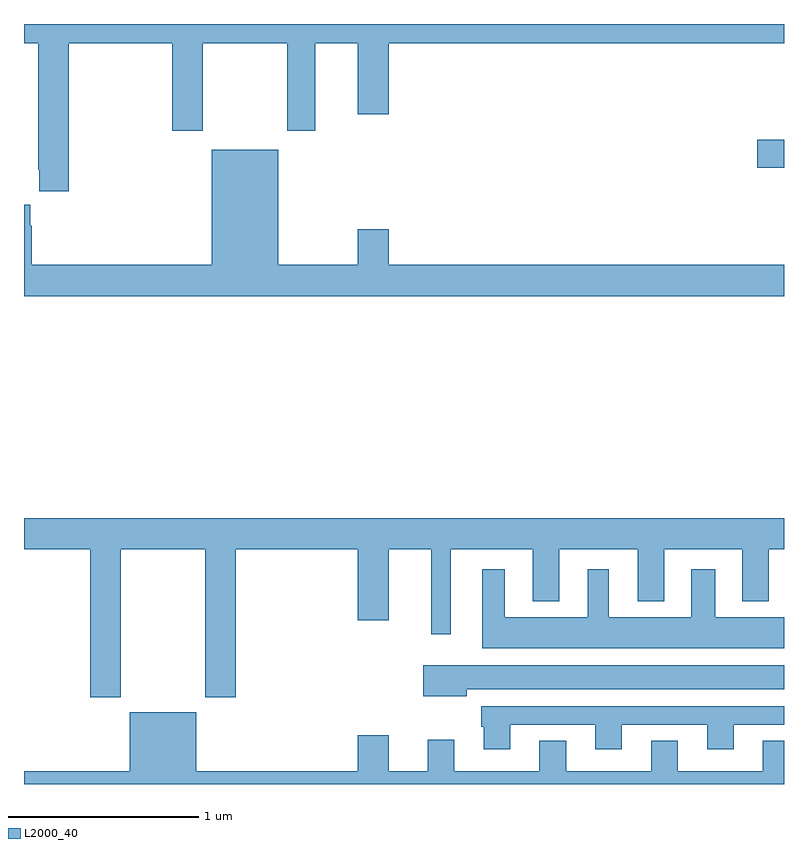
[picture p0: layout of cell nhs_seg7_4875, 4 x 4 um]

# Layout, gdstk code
import gdstk
lib = gdstk.Library(unit=1e-6, precision=1e-09)
def R(c, l, rs):  # rectangles x0, y0, x1, y1
    for r in rs: c.add(gdstk.rectangle(r[:2], r[2:], *l))
def P(c, l, *ps):  # polygons
    for p in ps: c.add(gdstk.Polygon(p, *l))
L2000_40 = (2000, 40)

nhs_seg7_4875 = lib.new_cell('nhs_seg7_4875')
R(nhs_seg7_4875, L2000_40, [(418.86,1049.243,419,1049.39)])
P(nhs_seg7_4875, L2000_40, [(415.235,1049.9),(415.781,1049.9),(415.781,1049.439),(415.941,1049.439),(415.941,1049.9),(416.386,1049.9),(416.386,1049.439),(416.533,1049.439),(416.533,1049.9),(416.756,1049.9),(416.756,1049.526),(416.92,1049.526),(416.92,1049.9),(419,1049.9),(419,1050),(415,1050),(415,1049.9),(415.075,1049.9),(415.075,1049.233),(415.079,1049.233),(415.079,1049.121),(415.235,1049.121)],
  [(419,1048.732),(416.92,1048.732),(416.92,1048.921),(416.756,1048.921),(416.756,1048.732),(416.338,1048.732),(416.338,1049.338),(415.988,1049.338),(415.988,1048.732),(415.04,1048.732),(415.04,1048.937),(415.033,1048.937),(415.033,1049.05),(415,1049.05),(415,1048.568),(419,1048.568)],
  [(415,1047.236),(415.349,1047.236),(415.349,1046.457),(415.509,1046.457),(415.509,1047.236),(415.954,1047.236),(415.954,1046.457),(416.114,1046.457),(416.114,1047.236),(416.756,1047.236),(416.756,1046.862),(416.92,1046.862),(416.92,1047.236),(417.143,1047.236),(417.143,1046.787),(417.247,1046.787),(417.247,1047.236),(417.677,1047.236),(417.677,1046.963),(417.817,1046.963),(417.817,1047.236),(418.229,1047.236),(418.229,1046.963),(418.369,1046.963),(418.369,1047.236),(418.781,1047.236),(418.781,1046.963),(418.921,1046.963),(418.921,1047.236),(419,1047.236),(419,1047.4),(415,1047.4)],
  [(419,1046.878),(418.639,1046.878),(418.639,1047.13),(418.511,1047.13),(418.511,1046.878),(418.078,1046.878),(418.078,1047.13),(417.968,1047.13),(417.968,1046.878),(417.529,1046.878),(417.529,1047.13),(417.413,1047.13),(417.413,1046.714),(419,1046.714)],
  [(417.331,1046.498),(419,1046.498),(419,1046.626),(417.102,1046.626),(417.102,1046.462),(417.331,1046.462)],
  [(417.559,1046.313),(418.007,1046.313),(418.007,1046.184),(418.147,1046.184),(418.147,1046.313),(418.595,1046.313),(418.595,1046.184),(418.735,1046.184),(418.735,1046.313),(419,1046.313),(419,1046.409),(417.407,1046.409),(417.407,1046.301),(417.419,1046.301),(417.419,1046.184),(417.559,1046.184)],
  [(419,1046.228),(418.889,1046.228),(418.889,1046.068),(418.441,1046.068),(418.441,1046.228),(418.301,1046.228),(418.301,1046.068),(417.853,1046.068),(417.853,1046.228),(417.713,1046.228),(417.713,1046.068),(417.265,1046.068),(417.265,1046.233),(417.125,1046.233),(417.125,1046.068),(416.92,1046.068),(416.92,1046.257),(416.756,1046.257),(416.756,1046.068),(415.906,1046.068),(415.906,1046.377),(415.556,1046.377),(415.556,1046.068),(415,1046.068),(415,1046),(419,1046)])

lib.write_gds('nhs_seg7_4875.gds')
